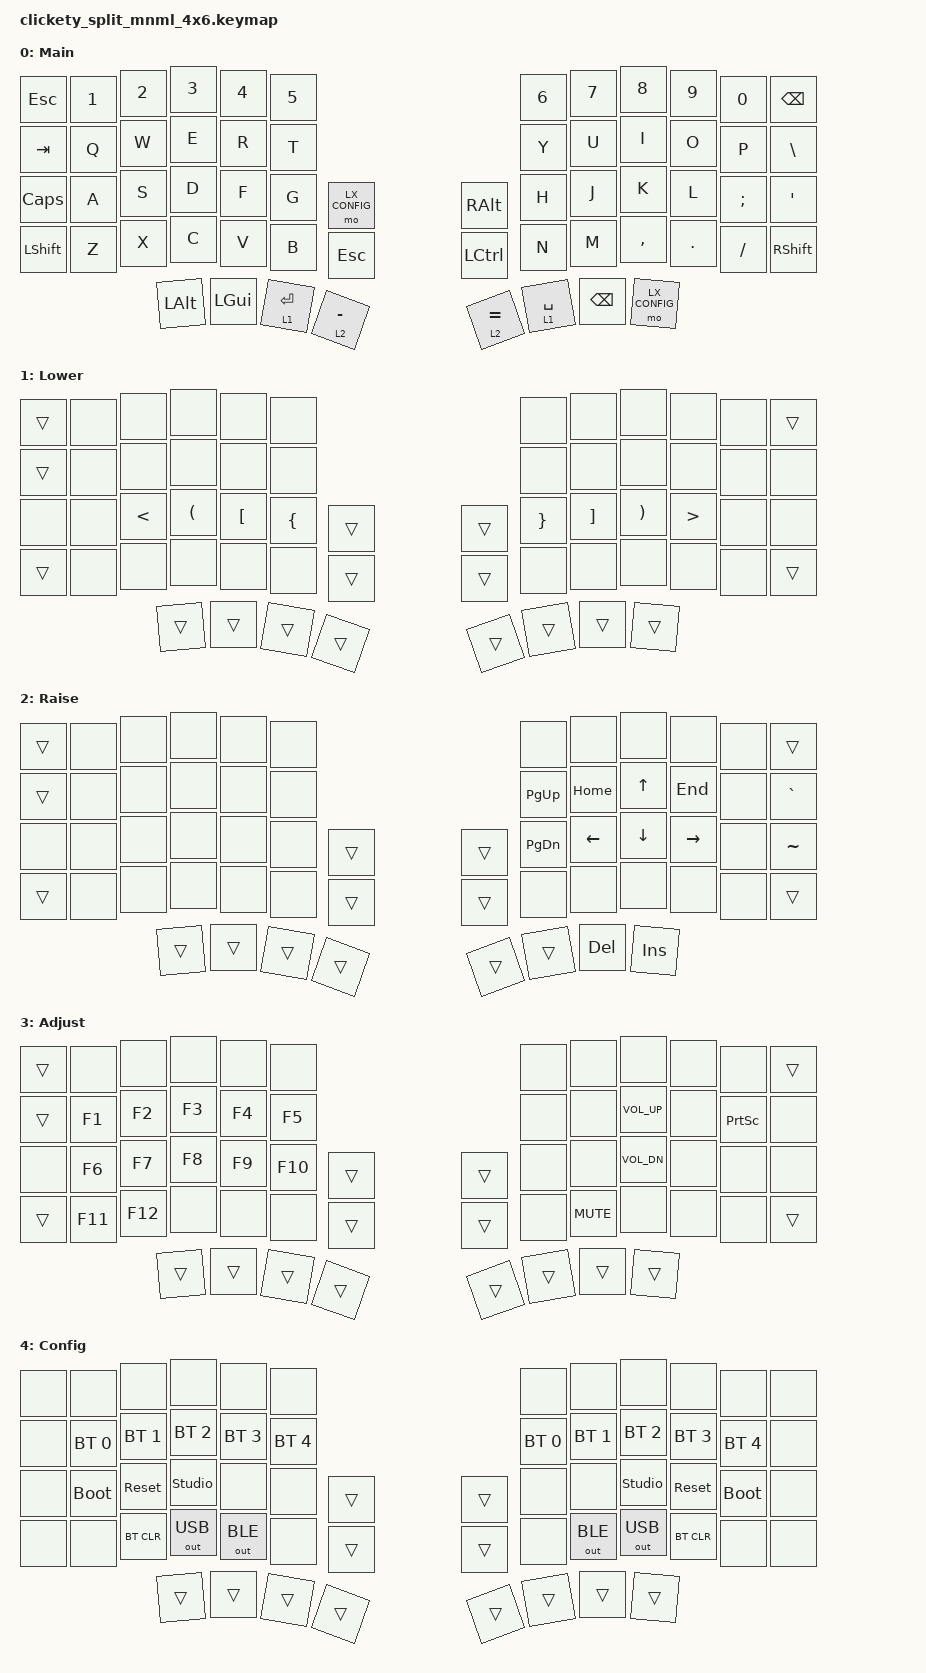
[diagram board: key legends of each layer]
/*
 * Copyright (c) 2025 Clickety Split Ltd.
 * SPDX-License-Identifier: MIT
 */

#include <behaviors.dtsi>
#include <dt-bindings/zmk/outputs.h>
#include <dt-bindings/zmk/keys.h>
#include <dt-bindings/zmk/bt.h>

#define LX_MAIN     0 // Main
#define LX_LOWER    1 // Lower
#define LX_RAISE    2 // Raise
#define LX_ADJUST   3 // Adjust
#define LX_CONFIG   4 // Config

/ {
    conditional_layers {
        compatible = "zmk,conditional-layers";
        lower_raise_adjust {
            if-layers = <LX_LOWER LX_RAISE>;
            then-layer = <LX_ADJUST>;
        };
    };

    keymap {
        compatible = "zmk,keymap";

        default_layer {
            // Leading space provides visual separation from the layer icon.
            // Layer references: 1 = Lower, 2 = Raise
            display-name = " Main";
            bindings = <
                &kp ESC       &kp N1        &kp N2        &kp N3          &kp N4        &kp N5                                     &kp N6        &kp N7       &kp N8           &kp N9        &kp N0          &kp BSPC
                &kp TAB       &kp Q         &kp W         &kp E           &kp R         &kp T                                      &kp Y         &kp U        &kp I            &kp O         &kp P           &kp BSLH
                &kp CAPS      &kp A         &kp S         &kp D           &kp F         &kp G         &mo LX_CONFIG   &kp RALT     &kp H         &kp J        &kp K            &kp L         &kp SEMI        &kp QUOT
                &kp LSHFT     &kp Z         &kp X         &kp C           &kp V         &kp B         &kp ESC         &kp LCTRL    &kp N         &kp M        &kp COMMA        &kp DOT       &kp FSLH        &kp RSHFT
                                                          &kp LALT        &kp LGUI      &lt 1 RET     &lt 2 MINUS     &lt 2 EQUAL  &lt 1 SPACE   &kp BSPC     &mo LX_CONFIG
            >;
        };

        lower_layer {
            display-name = " Lower";
            bindings = <
                &trans        &none         &none         &none           &none         &none                                      &none         &none         &none           &none         &none           &trans
                &trans        &none         &none         &none           &none         &none                                      &none         &none         &none           &none         &none           &none
                &none         &none         &kp LT        &kp LPAR        &kp LBKT      &kp LBRC      &trans          &trans       &kp RBRC      &kp RBKT      &kp RPAR        &kp GT        &none           &none
                &trans        &none         &none         &none           &none         &none         &trans          &trans       &none         &none         &none           &none         &none           &trans
                                                          &trans          &trans        &trans        &trans          &trans       &trans        &trans        &trans
            >;
        };

        raise_layer {
            display-name = " Raise";
            bindings = <
                &trans        &none         &none         &none           &none         &none                                      &none         &none         &none           &none         &none           &trans
                &trans        &none         &none         &none           &none         &none                                      &kp PG_UP     &kp HOME      &kp UP          &kp END       &none           &kp GRAVE
                &none         &none         &none         &none           &none         &none         &trans          &trans       &kp PG_DN     &kp LEFT      &kp DOWN        &kp RIGHT     &none           &kp TILDE
                &trans        &none         &none         &none           &none         &none         &trans          &trans       &none         &none         &none           &none         &none           &trans
                                                          &trans          &trans        &trans        &trans          &trans       &trans        &kp DEL       &kp INS
            >;
        };

        adjust_layer {
            display-name = " Adjust";
            bindings = <
                &trans        &none         &none         &none           &none         &none                                      &none         &none         &none           &none         &none           &trans
                &trans        &kp F1        &kp F2        &kp F3          &kp F4        &kp F5                                     &none         &none         &kp C_VOL_UP    &none         &kp PSCRN       &none
                &none         &kp F6        &kp F7        &kp F8          &kp F9        &kp F10       &trans          &trans       &none         &none         &kp C_VOL_DN    &none         &none           &none
                &trans        &kp F11       &kp F12       &none           &none         &none         &trans          &trans       &none         &kp C_MUTE    &none           &none         &none           &trans
                                                          &trans          &trans        &trans        &trans          &trans       &trans        &trans        &trans
            >;
        };

        config_layer {
            display-name = " Config";
            bindings = <
                &none         &none         &none         &none           &none         &none                                      &none         &none         &none           &none         &none           &none
                &none         &bt BT_SEL 0  &bt BT_SEL 1  &bt BT_SEL 2    &bt BT_SEL 3  &bt BT_SEL 4                               &bt BT_SEL 0  &bt BT_SEL 1  &bt BT_SEL 2    &bt BT_SEL 3  &bt BT_SEL 4    &none
                &none         &bootloader   &sys_reset    &studio_unlock  &none         &none         &trans          &trans       &none         &none         &studio_unlock  &sys_reset    &bootloader     &none
                &none         &none         &bt BT_CLR    &out OUT_USB    &out OUT_BLE  &none         &trans          &trans       &none         &out OUT_BLE  &out OUT_USB    &bt BT_CLR    &none           &none
                                                          &trans          &trans        &trans        &trans          &trans       &trans        &trans        &trans
            >;
        };

        extra1 {
            status = "reserved";
        };

        extra2 {
            status = "reserved";
        };

        extra3 {
            status = "reserved";
        };

        extra4 {
            status = "reserved";
        };

        extra5 {
            status = "reserved";
        };

    };
};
